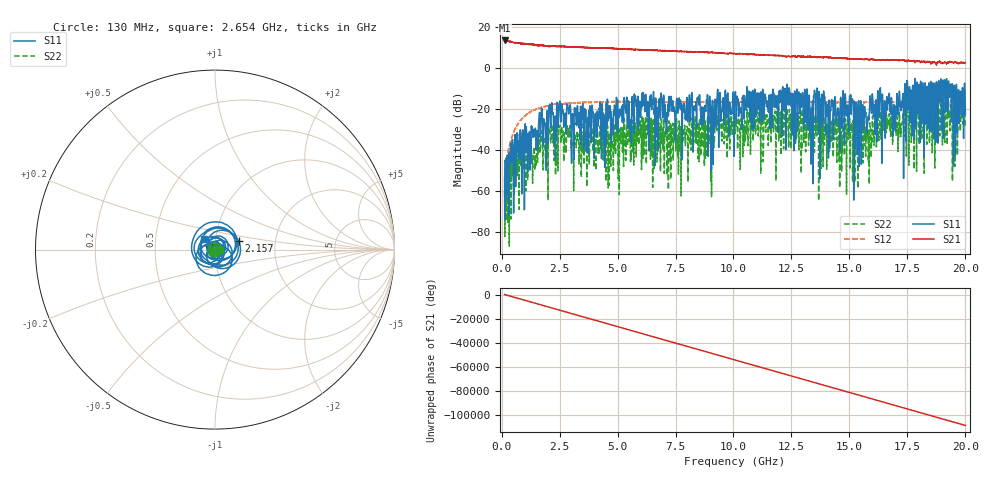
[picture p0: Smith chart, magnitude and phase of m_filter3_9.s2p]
!Created with skrf (http://scikit-rf.org).
# GHz S RI R 50.0
!freq ReS11 ImS11 ReS21 ImS21 ReS12 ImS12 ReS22 ImS22
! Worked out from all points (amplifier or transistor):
!   20013 points, 130 MHz to 20 GHz, reference 50 ohm
!   highest |S21| = 13.4 dB at 131 MHz (marker M1)
!   |S21| within 3 dB of that: start of sweep to 2.389 GHz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
!   unconditionally stable (mu >= 1): start of sweep to end of sweep
!   at 3.465 GHz: K = 1.32, MAG = 10.1 dB, |S12| = -16.9 dB
!   at 10.14 GHz: K = 1.68, MAG = 7.1 dB, |S12| = -16.8 dB
!   at 20 GHz: K = 2.47, MAG = 2.7 dB, |S12| = -16.3 dB
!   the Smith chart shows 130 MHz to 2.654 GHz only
!   S11 on the Smith chart (normalised r, x): 130 MHz: 1.00, +0.00; 2.157 GHz: 1.29, +0.13; 2.654 GHz: 0.87, +0.10
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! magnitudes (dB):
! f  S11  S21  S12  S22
! 130 MHz  -54.1  13.4  -53.4  -61.4
! 131 MHz  -55.7  13.4  -53.5  -60.8
! 760 MHz  -34.3  12.2  -26.3  -51.7
! 2.157 GHz  -17.1  10.7  -18.0  -27.8
! 2.654 GHz  -21.3  10.5  -17.5  -31.2
! 3.442 GHz  -21.7  10.1  -16.9  -43.3
! 4.401 GHz  -27.3  9.7  -16.6  -33.8
! 4.598 GHz  -19.9  9.6  -16.6  -44.9
! 6.137 GHz  -17.2  8.9  -16.4  -42.6
! 6.754 GHz  -38.0  8.5  -16.5  -36.7
! 8.464 GHz  -15.6  7.8  -16.7  -36.0
! 9.091 GHz  -15.8  7.6  -16.6  -27.3
! 10.06 GHz  -14.0  7.0  -16.8  -31.9
! 12.38 GHz  -12.2  5.7  -16.8  -38.5
! 13.38 GHz  -23.6  5.5  -16.5  -30.5
! 13.54 GHz  -20.3  5.4  -16.6  -28.0
! 15.69 GHz  -21.9  4.3  -16.8  -35.5
! 16.69 GHz  -16.5  3.9  -16.8  -28.5
! 16.93 GHz  -25.7  3.9  -16.9  -27.8
! 17.56 GHz  -12.6  3.7  -16.6  -31.1
! 19.1 GHz  -5.9  2.9  -16.5  -26.3
! 20 GHz  -22.4  2.7  -16.3  -29.3
